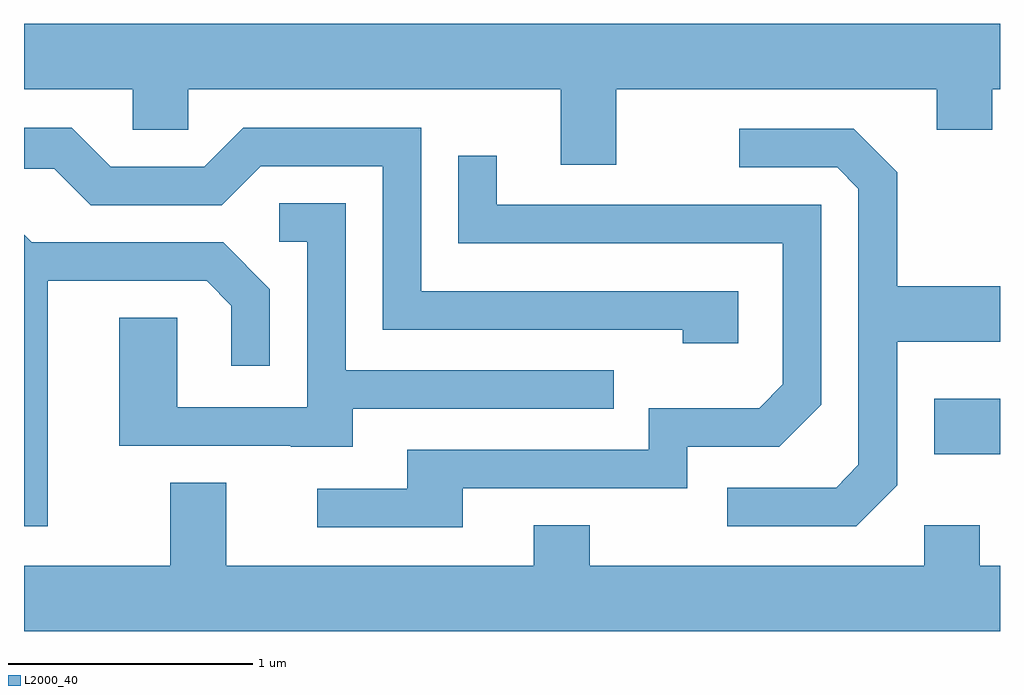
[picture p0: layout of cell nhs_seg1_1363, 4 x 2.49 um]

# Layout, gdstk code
import gdstk
lib = gdstk.Library(unit=1e-6, precision=1e-09)
def R(c, l, rs):  # rectangles x0, y0, x1, y1
    for r in rs: c.add(gdstk.rectangle(r[:2], r[2:], *l))
def P(c, l, *ps):  # polygons
    for p in ps: c.add(gdstk.Polygon(p, *l))
L2000_40 = (2000, 40)

nhs_seg1_1363 = lib.new_cell('nhs_seg1_1363')
R(nhs_seg1_1363, L2000_40, [(231.341,873.661,231.611,873.889)])
P(nhs_seg1_1363, L2000_40, [(230.039,875.156),(231.351,875.156),(231.351,874.991),(231.579,874.991),(231.579,875.156),(231.611,875.156),(231.611,875.424),(227.611,875.424),(227.611,875.156),(228.056,875.156),(228.056,874.991),(228.284,874.991),(228.284,875.156),(229.811,875.156),(229.811,874.846),(230.039,874.846)],
  [(230.539,874.329),(229.239,874.329),(229.239,874.999),(228.509,874.999),(228.349,874.839),(227.967,874.839),(227.807,874.999),(227.611,874.999),(227.611,874.831),(227.734,874.831),(227.884,874.681),(228.422,874.681),(228.582,874.841),(229.081,874.841),(229.081,874.171),(230.311,874.171),(230.311,874.116),(230.539,874.116)],
  [(231.189,873.534),(231.189,874.121),(231.611,874.121),(231.611,874.349),(231.189,874.349),(231.189,874.817),(231.012,874.994),(230.543,874.994),(230.543,874.836),(230.944,874.836),(231.031,874.749),(231.031,873.617),(230.939,873.524),(230.493,873.524),(230.493,873.366),(231.022,873.366)],
  [(229.409,873.521),(230.329,873.521),(230.329,873.691),(230.707,873.691),(230.879,873.864),(230.879,874.684),(229.549,874.684),(229.549,874.883),(229.391,874.883),(229.391,874.526),(230.721,874.526),(230.721,873.947),(230.624,873.849),(230.171,873.849),(230.171,873.679),(229.181,873.679),(229.181,873.519),(228.813,873.519),(228.813,873.361),(229.409,873.361)],
  [(228.959,873.846),(230.028,873.846),(230.028,874.004),(228.929,874.004),(228.929,874.689),(228.658,874.689),(228.658,874.531),(228.771,874.531),(228.771,873.854),(228.239,873.854),(228.239,874.219),(228.001,874.219),(228.001,873.696),(228.705,873.696),(228.705,873.691),(228.959,873.691)],
  [(227.709,874.371),(228.359,874.371),(228.461,874.269),(228.461,874.023),(228.619,874.023),(228.619,874.337),(228.427,874.529),(227.642,874.529),(227.611,874.56),(227.611,873.366),(227.709,873.366)],
  [(231.611,873.204),(231.529,873.204),(231.529,873.369),(231.301,873.369),(231.301,873.204),(229.929,873.204),(229.929,873.369),(229.701,873.369),(229.701,873.204),(228.439,873.204),(228.439,873.544),(228.211,873.544),(228.211,873.204),(227.611,873.204),(227.611,872.936),(231.611,872.936)])

lib.write_gds('nhs_seg1_1363.gds')
